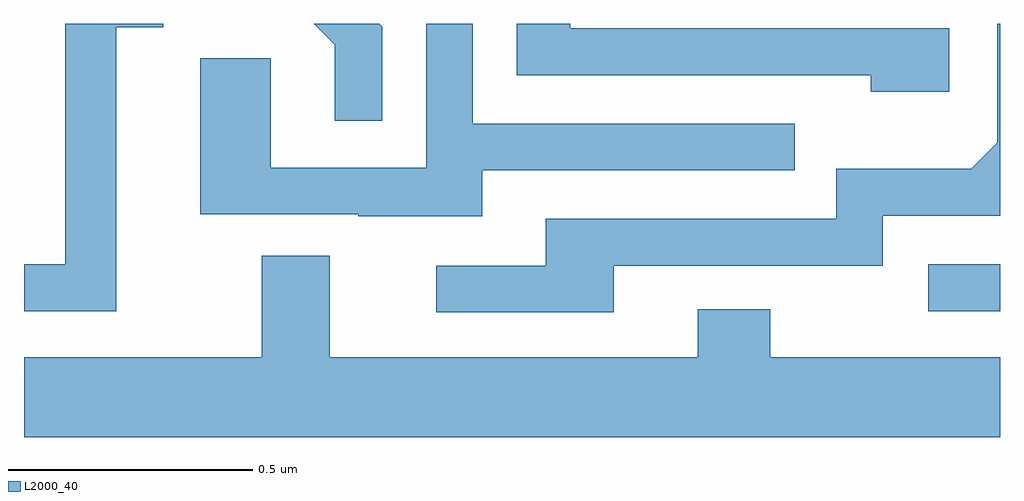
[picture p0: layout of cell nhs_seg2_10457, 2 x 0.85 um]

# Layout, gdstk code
import gdstk
lib = gdstk.Library(unit=1e-6, precision=1e-09)
def R(c, l, rs):  # rectangles x0, y0, x1, y1
    for r in rs: c.add(gdstk.rectangle(r[:2], r[2:], *l))
def P(c, l, *ps):  # polygons
    for p in ps: c.add(gdstk.Polygon(p, *l))
L2000_40 = (2000, 40)

nhs_seg2_10457 = lib.new_cell('nhs_seg2_10457')
R(nhs_seg2_10457, L2000_40, [(242.853,665.211,243,665.307)])
P(nhs_seg2_10457, L2000_40, [(242.896,665.79),(242.119,665.79),(242.119,665.8),(242.01,665.8),(242.01,665.694),(242.735,665.694),(242.735,665.66),(242.896,665.66)],
  [(241.939,665.499),(242.579,665.499),(242.579,665.595),(241.92,665.595),(241.92,665.8),(241.824,665.8),(241.824,665.505),(241.506,665.505),(241.506,665.729),(241.361,665.729),(241.361,665.409),(241.685,665.409),(241.685,665.405),(241.939,665.405)],
  [(241.189,665.792),(241.285,665.792),(241.285,665.8),(241.085,665.8),(241.085,665.307),(241,665.307),(241,665.211),(241.189,665.211)],
  [(241.734,665.794),(241.728,665.8),(241.594,665.8),(241.637,665.757),(241.637,665.601),(241.734,665.601)],
  [(242.209,665.304),(242.76,665.304),(242.76,665.406),(243,665.406),(243,665.8),(242.994,665.8),(242.994,665.556),(242.941,665.503),(242.664,665.503),(242.664,665.4),(242.069,665.4),(242.069,665.304),(241.845,665.304),(241.845,665.208),(242.209,665.208)],
  [(243,665.116),(242.529,665.116),(242.529,665.215),(242.381,665.215),(242.381,665.116),(241.627,665.116),(241.627,665.324),(241.487,665.324),(241.487,665.116),(241,665.116),(241,664.952),(243,664.952)])

lib.write_gds('nhs_seg2_10457.gds')
